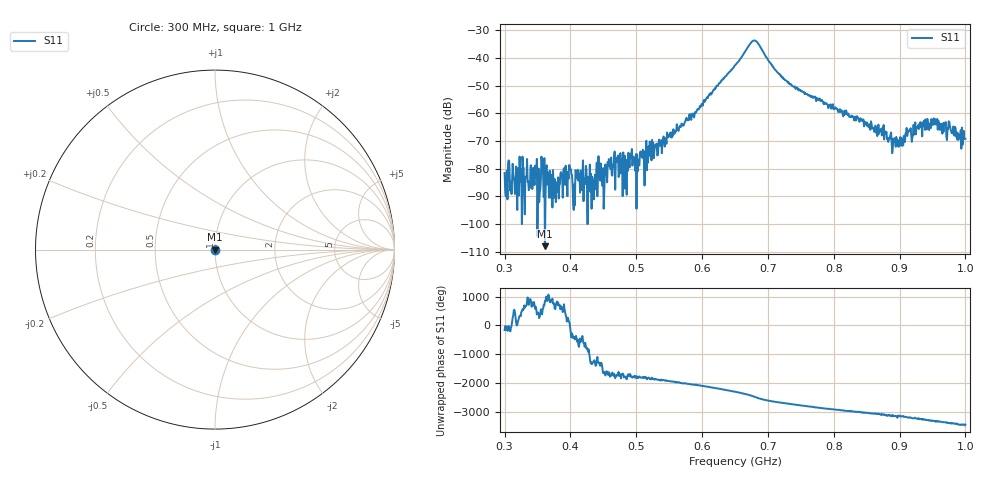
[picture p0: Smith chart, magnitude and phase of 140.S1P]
! C:\Users\rflab\Downloads\q2\140.S1P
! Touchstone 1.1 file saved by VNA.EXE V1.65 (www.ke5fx.com/gpib/readme.htm)
! 11/20/2024 11:11:23 AM
!  Source: HEWLETT PACKARD,8753D,0,6.14
!  Min freq: 3.000000E+008 Hz
!  Max freq: 1.000000E+009 Hz
!  Points: 801
!  Params: S21
# GHZ S MA R 50
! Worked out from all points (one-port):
!   801 points, 300 MHz to 1 GHz, reference 50 ohm
!   lowest |S11| = -108.0 dB at 361.2 MHz (marker M1), VSWR 1.00, Z = 50 + j0.000339 ohm
!   |S11| at or under -10 dB: start of sweep to end of sweep
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0.3  8.4e-05 -158.9
0.36125  4e-06 122.1
0.3875  7e-05 -133.6
0.4505  1.9e-05 147.9
0.468875  0.000146 37.5
0.475  8.2e-05 83.1
0.484625  5.1e-05 -12.2
0.49425  0.000114 -5.1
0.50125  0.000182 39.9
0.507375  0.000174 -6.3
0.514375  0.000113 -11.5
0.52225  0.000286 -62.1
0.535375  0.000282 -85.6
0.5625  0.000498 -168.1
0.587  0.000898 113.5
0.65  0.007394 -130.4
0.673625  0.01868 103.1
0.680625  0.02077 45.0
0.712125  0.005976 -123.5
0.7375  0.003115 153.2
0.825  0.000856 -90.4
0.876625  0.000339 170.3
0.8915  0.000307 109.7
0.902  0.000325 95.2
0.9125  0.000459 61.0
0.92125  0.000623 27.5
0.953625  0.000797 -63.0
1  0.000349 178.1
